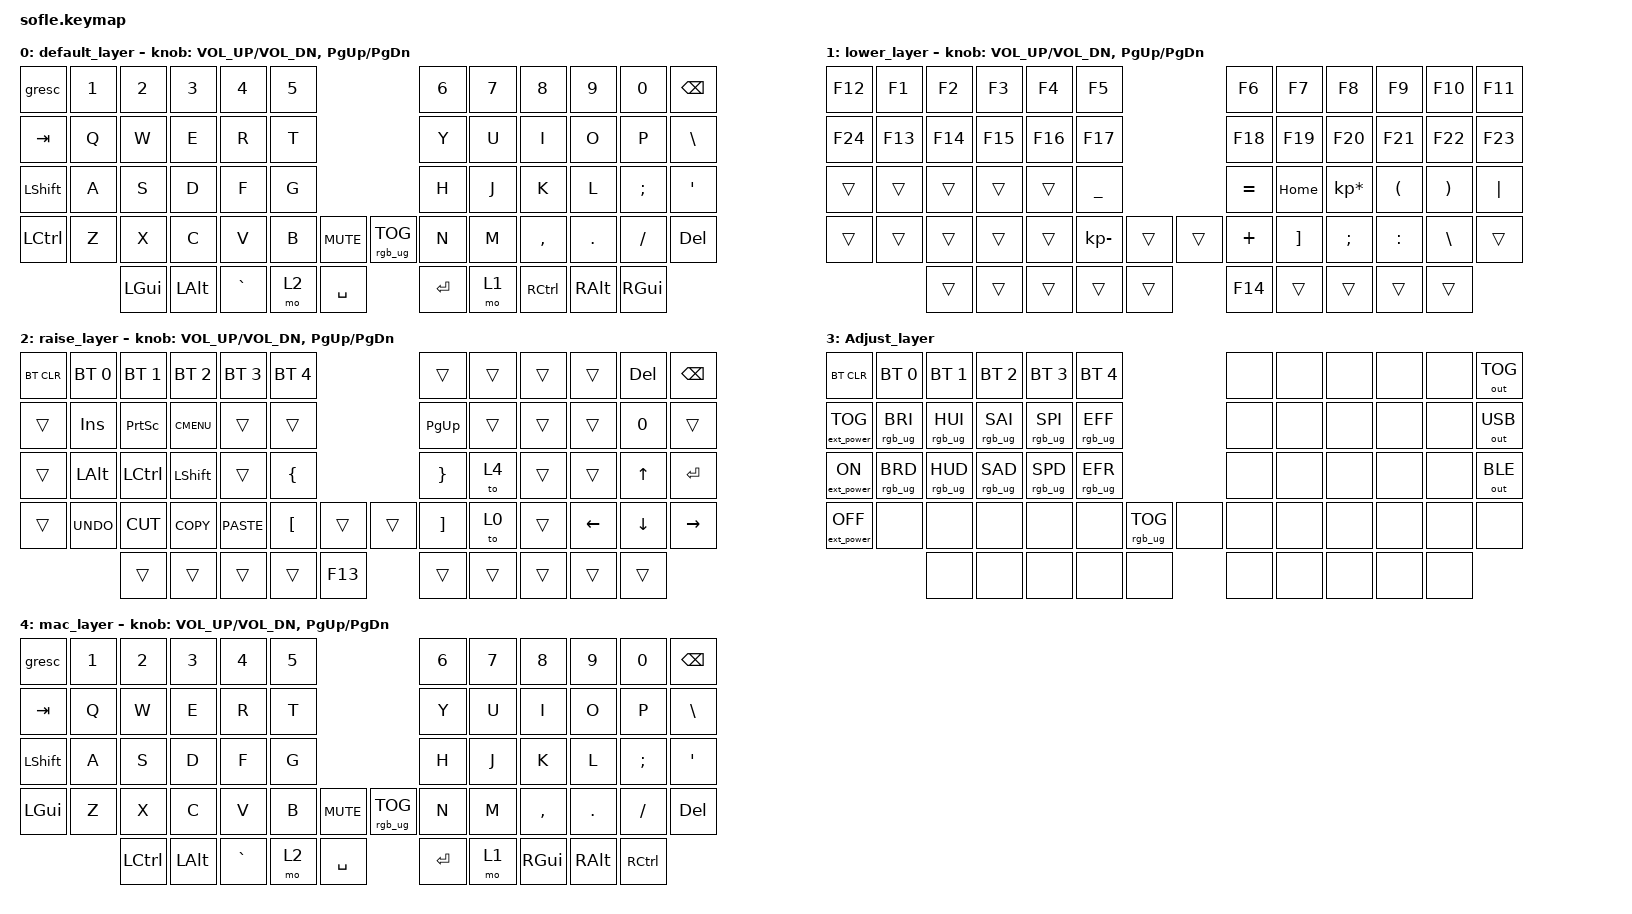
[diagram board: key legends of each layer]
/*
 * Copyright (c) 2020 The ZMK Contributors
 *
 * SPDX-License-Identifier: MIT
 */

#include <behaviors.dtsi>
#include <dt-bindings/zmk/keys.h>
#include <dt-bindings/zmk/rgb.h>
#include <dt-bindings/zmk/bt.h>
#include <dt-bindings/zmk/outputs.h>
#include <dt-bindings/zmk/ext_power.h>

#define BASE 0
#define LOWER 1
#define RAISE 2
#define ADJUST 3

/ {
    // Activate ADJUST layer by pressing raise and lower

    conditional_layers {
        compatible = "zmk,conditional-layers";

        adjust_layer {
            if-layers = <LOWER RAISE>;
            then-layer = <ADJUST>;
        };
    };

    keymap {
        compatible = "zmk,keymap";

        default_layer {
            // -------------------------------------------------------------------------------------------------------------------------------------------------------
            // |   GRESC   |    1    |    2    |    3    |    4     |    5    |                            |    6    |    7    |    8    |    9    |    0    | BKSPC |
            // |    TAB    |    Q    |    W    |    E    |    R     |    T    |                            |    Y    |    U    |    I    |    O    |    P    |   \   |
            // |   SHIFT   |    A    |    S    |    D    |    F     |    G    |                            |    H    |    J    |    K    |    L    |    ;    |   '   |
            // |   LCTRL   |    Z    |    X    |    C    |    V     |    B    |   MUTE   |   |   RGB_TOG   |    N    |    M    |    ,    |    .    |    /    |  DEL  |
            //                       |   GUI   |   ALT   |   GRAVE  |  RAISE  |   SPACE  |   |    ENTER    |  LOWER  |   CTRL  |   ALT   |   GUI   |

            bindings = <
    &gresc  &kp N1    &kp N2    &kp N3     &kp N4  &kp N5                               &kp N6     &kp N7     &kp N8    &kp N9    &kp N0  &kp BSPC
   &kp TAB   &kp Q     &kp W     &kp E      &kp R   &kp T                                &kp Y      &kp U      &kp I     &kp O     &kp P  &kp BSLH
 &kp LSHFT   &kp A     &kp S     &kp D      &kp F   &kp G                                &kp H      &kp J      &kp K     &kp L  &kp SEMI   &kp SQT
 &kp LCTRL   &kp Z     &kp X     &kp C      &kp V   &kp B  &kp C_MUTE  &rgb_ug RGB_TOG   &kp N      &kp M  &kp COMMA   &kp DOT  &kp FSLH   &kp DEL
                    &kp LGUI  &kp LALT  &kp GRAVE   &mo 2   &kp SPACE          &kp RET   &mo 1  &kp RCTRL   &kp RALT  &kp RGUI
            >;

            sensor-bindings = <&inc_dec_kp C_VOL_UP C_VOL_DN &inc_dec_kp PG_UP PG_DN>;
        };

        lower_layer {
            // TODO: Some binds are waiting for shifted keycode support.
            // ------------------------------------------------------------------------------------------------------------
            // | F12   |  F1 |  F2 |  F3  |  F4  |  F5  |                   |  F6  |  F7   |  F8   |  F9  |  F10  |  F11  |
            // | F24   | F13 | F14 | F15  | F16  | F17  |                   |  F18 | F19   | F20   | F21  |  F22  |  F23  |
            // |       |  !  |  @  |  #   |  $   |  %   |                   |  ^   |  &    |  *    |  (   |   )   |   |   |
            // |       |  =  |  -  |  +   |  {   |  }   |        |  |       |  [   |  ]    |  ;    |  :   |   \   |       |
            //               |     |      |      |      |        |  |       |      |       |       |      |

            bindings = <
 &kp F12   &kp F1   &kp F2   &kp F3   &kp F4        &kp F5                      &kp F6    &kp F7           &kp F8     &kp F9   &kp F10   &kp F11
 &kp F24  &kp F13  &kp F14  &kp F15  &kp F16       &kp F17                     &kp F18   &kp F19          &kp F20    &kp F21   &kp F22   &kp F23
  &trans   &trans   &trans   &trans   &trans     &kp UNDER                   &kp EQUAL  &kp HOME  &kp KP_MULTIPLY   &kp LPAR  &kp RPAR  &kp PIPE
  &trans   &trans   &trans   &trans   &trans  &kp KP_MINUS  &trans   &trans   &kp PLUS  &kp RBKT         &kp SEMI  &kp COLON  &kp BSLH    &trans
                    &trans   &trans   &trans        &trans  &trans  &kp F14     &trans    &trans           &trans     &trans
            >;

            sensor-bindings = <&inc_dec_kp C_VOL_UP C_VOL_DN &inc_dec_kp PG_UP PG_DN>;
        };

        raise_layer {
            // ------------------------------------------------------------------------------------------------------------
            // |BTCLR| BT1  | BT2  |  BT3  |  BT4  |  BT5 |                |      |      |       |      |       |       |
            // |     | INS  | PSCR | GUI   |       |      |                | PGUP |      |   ^   |      |       |       |
            // |     | ALT  | CTRL | SHIFT |       | CAPS |                | PGDN |   <- |   v   |  ->  |  DEL  | BKSPC |
            // |     | UNDO | CUT  | COPY  | PASTE |      |      |  |      |      |      |       |      |       |       |
            //              |      |       |       |      |      |  |      |      |      |       |      |

            bindings = <
 &bt BT_CLR  &bt BT_SEL 0  &bt BT_SEL 1  &bt BT_SEL 2  &bt BT_SEL 3      &bt BT_SEL 4                              &trans  &trans  &trans    &trans   &kp DEL  &kp BACKSPACE
     &trans       &kp INS     &kp PSCRN   &kp K_CMENU        &trans            &trans                           &kp PG_UP  &trans  &trans    &trans    &kp N0         &trans
     &trans      &kp LALT     &kp LCTRL     &kp LSHFT        &trans    &kp LEFT_BRACE                     &kp RIGHT_BRACE   &to 4  &trans    &trans    &kp UP      &kp ENTER
     &trans    &kp K_UNDO     &kp K_CUT    &kp K_COPY   &kp K_PASTE  &kp LEFT_BRACKET   &trans  &trans  &kp RIGHT_BRACKET   &to 0  &trans  &kp LEFT  &kp DOWN      &kp RIGHT
                                 &trans        &trans        &trans            &trans  &kp F13  &trans             &trans  &trans  &trans    &trans
            >;

            sensor-bindings = <&inc_dec_kp C_VOL_UP C_VOL_DN &inc_dec_kp PG_UP PG_DN>;
        };

        // ------------------------------------------------------------------------------------------------------------
        // |BTCLR | BT1   | BT2   |  BT3  |  BT4  |  BT5  |                |      |      |       |      |       |OUT_TOG|
        // |EPTOG |RGB_BRI|RGB_HUI|RGB_SAI|RGB_SPI|RGB_EFF|                |      |      |       |      |       |OUT_USB|
        // |EPON  |RGB_BRD|RGB_HUD|RGB_SAD|RGB_SPD|RGB_EFR|                |      |      |       |      |       |OUT_BLE|
        // |EPOFF |       |       |       |       |       |RGB_TOG| |      |      |      |       |      |       |       |
        //                |       |       |       |       |       | |      |      |      |       |      |

        Adjust_layer {
            bindings = <
        &bt BT_CLR     &bt BT_SEL 0     &bt BT_SEL 1     &bt BT_SEL 2     &bt BT_SEL 3     &bt BT_SEL 4                            &none   &none   &none   &none   &none  &out OUT_TOG
 &ext_power EP_TOG  &rgb_ug RGB_BRI  &rgb_ug RGB_HUI  &rgb_ug RGB_SAI  &rgb_ug RGB_SPI  &rgb_ug RGB_EFF                            &none   &none   &none   &none   &none  &out OUT_USB
  &ext_power EP_ON  &rgb_ug RGB_BRD  &rgb_ug RGB_HUD  &rgb_ug RGB_SAD  &rgb_ug RGB_SPD  &rgb_ug RGB_EFR                            &none   &none   &none   &none   &none  &out OUT_BLE
 &ext_power EP_OFF            &none            &none            &none            &none            &none  &rgb_ug RGB_TOG   &none   &none   &none   &none   &none   &none         &none
                                               &none            &none            &none            &none            &none   &none   &none   &none   &none   &none
            >;
        };

        mac_layer {
            bindings = <
         &gresc  &kp NUMBER_1  &kp NUMBER_2  &kp NUMBER_3  &kp NUMBER_4  &kp NUMBER_5                               &kp NUMBER_6  &kp NUMBER_7  &kp NUMBER_8  &kp NUMBER_9  &kp NUMBER_0  &kp BACKSPACE
        &kp TAB         &kp Q         &kp W         &kp E         &kp R         &kp T                                      &kp Y         &kp U         &kp I         &kp O         &kp P  &kp BACKSLASH
 &kp LEFT_SHIFT         &kp A         &kp S         &kp D         &kp F         &kp G                                      &kp H         &kp J         &kp K         &kp L      &kp SEMI       &kp APOS
   &kp LEFT_GUI         &kp Z         &kp X         &kp C         &kp V         &kp B  &kp C_MUTE  &rgb_ug RGB_TOG         &kp N         &kp M     &kp COMMA    &kp PERIOD     &kp SLASH        &kp DEL
                                  &kp LCTRL  &kp LEFT_ALT     &kp GRAVE         &mo 2   &kp SPACE        &kp ENTER         &mo 1      &kp RGUI      &kp RALT     &kp RCTRL
            >;

            sensor-bindings = <&inc_dec_kp C_VOL_UP C_VOL_DN &inc_dec_kp PG_UP PG_DN>;
        };
    };
};
